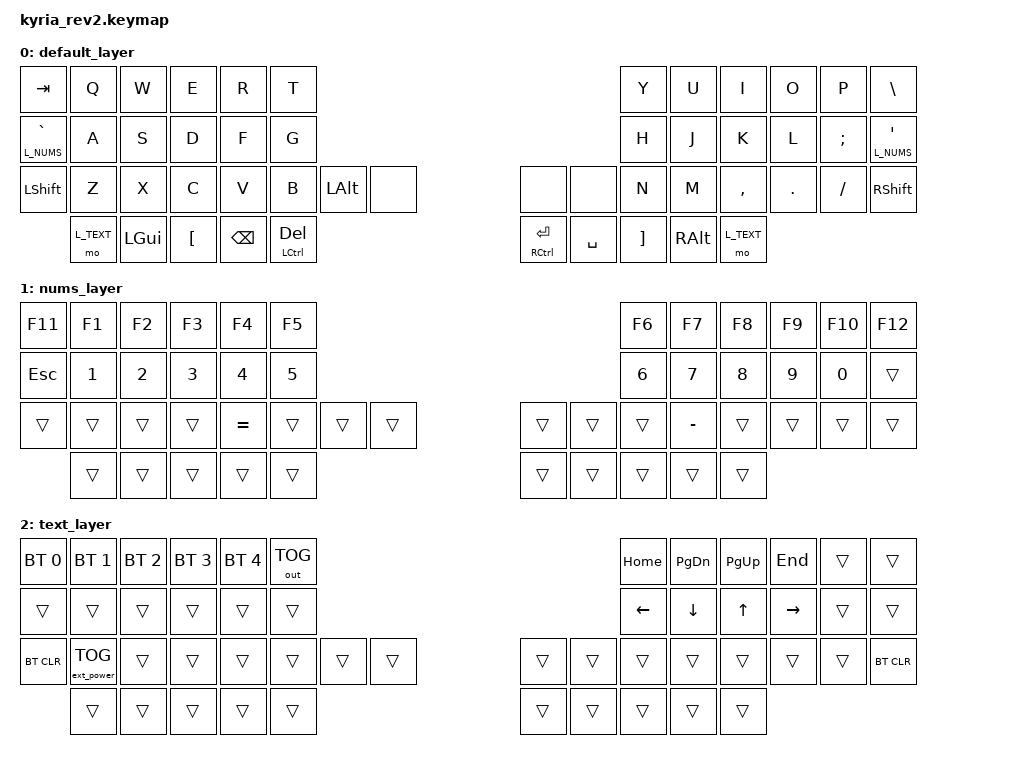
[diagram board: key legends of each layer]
#define DEFAULT 0
#define L_NUMS 1
#define L_TEXT 2

#include <behaviors.dtsi>
#include <dt-bindings/zmk/keys.h>
#include <dt-bindings/zmk/bt.h>
#include <dt-bindings/zmk/outputs.h>
#include <dt-bindings/zmk/ext_power.h>

/ {
	keymap {
		compatible = "zmk,keymap";

		default_layer {
			bindings = <
	&kp TAB          &kp Q &kp W &kp E &kp R &kp T                                                                     &kp Y &kp U  &kp I     &kp O   &kp P    &kp BSLH
	&lt L_NUMS GRAVE &kp A &kp S &kp D &kp F &kp G                                                                     &kp H &kp J  &kp K     &kp L   &kp SEMI &lt L_NUMS SQT 
	&kp LSHFT        &kp Z &kp X &kp C &kp V &kp B   &kp LALT &none                         &none          &none       &kp N &kp M  &kp COMMA &kp DOT &kp FSLH &kp RSHFT
	                    &mo L_TEXT &kp LGUI &kp LBKT &kp BSPC &mt LCTRL DEL                 &mt RCTRL RET  &kp SPACE &kp RBKT &kp RALT &mo L_TEXT
			>;
		};

		nums_layer {
			bindings = <
	&kp F11   &kp F1    &kp F2    &kp F3    &kp F4    &kp F5                                              &kp F6    &kp F7    &kp F8    &kp F9    &kp F10   &kp F12
	&kp ESC   &kp N1    &kp N2    &kp N3    &kp N4    &kp N5                                              &kp N6    &kp N7    &kp N8    &kp N9    &kp N0    &trans
	&trans    &trans    &trans    &trans    &kp EQUAL &trans    &trans    &trans      &trans    &trans    &trans    &kp MINUS &trans    &trans    &trans    &trans  
	                              &trans    &trans    &trans    &trans    &trans      &trans    &trans    &trans    &trans    &trans    
			>;
		};
		
		text_layer {
			bindings = <
	&bt BT_SEL 0    &bt BT_SEL 1    &bt BT_SEL 2    &bt BT_SEL 3    &bt BT_SEL 4    &out OUT_TOG                                              &kp HOME  &kp PG_DN &kp PG_UP &kp END   &trans    &trans  
	&trans          &trans          &trans          &trans          &trans          &trans                                                    &kp LEFT  &kp DOWN  &kp UP    &kp RIGHT &trans    &trans  
	&bt BT_CLR      &ext_power EP_TOG          &trans          &trans          &trans          &trans          &trans    &trans      &trans    &trans    &trans    &trans    &trans    &trans    &trans    &bt BT_CLR  
	                                                &trans          &trans          &trans          &trans    &trans      &trans    &trans    &trans    &trans    &trans    
			>;
		};
	};
};
